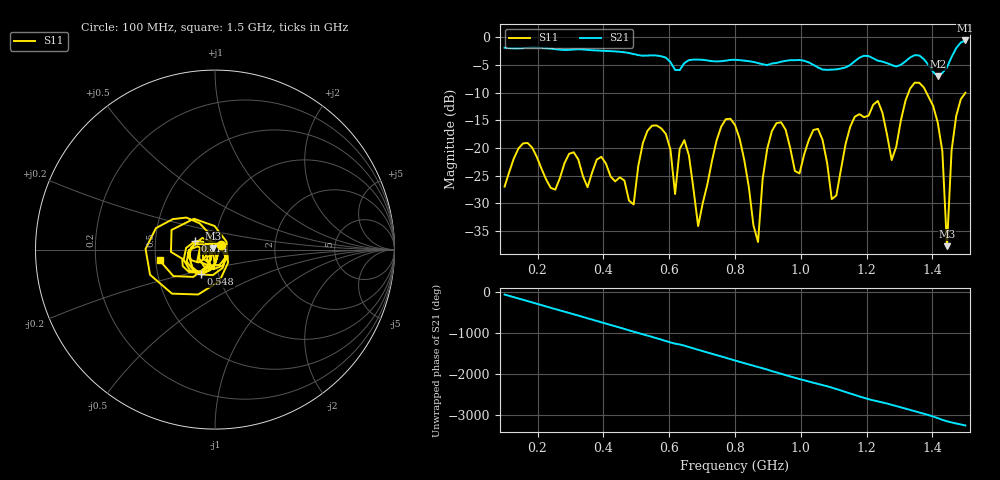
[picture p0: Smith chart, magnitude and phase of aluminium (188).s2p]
! NanoVNA-App
! Date: 2025-09-25 14:56:44
! Start: 100MHz Stop: 1,5GHz Points: 101
! S-Parameter data: F S11 S21 S12 S22
# Hz S RI R 50
!  Frequency  S11_Real  S11_Imag  S21_Real  S21_Imag  S12_Real  S12_Imag  S22_Real  S22_Imag
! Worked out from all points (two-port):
!   101 points, 100 MHz to 1.5 GHz, reference 50 ohm
!   highest |S21| = -0.61 dB at 1.5 GHz (marker M1); lowest = -7.1 dB at 1.416 GHz (marker M2)
!   |S21| within 3 dB of the highest: start of sweep to 584.5 MHz; 1.458 GHz to end of sweep (the widest 2 of 4)
!   lowest |S11| = -37.7 dB at 1.444 GHz (marker M3), VSWR 1.03, Z = 48.9 + j0.645 ohm
!   |S11| at or under -10 dB: start of sweep to 1.327 GHz; 1.382 GHz to end of sweep
!   S12 and S22 are empty: the file has one direction only
!   S11 on the Smith chart (normalised r, x): 100 MHz: 1.07, +0.06; 548 MHz: 0.82, -0.23; 814 MHz: 0.79, +0.07; 1.5 GHz: 0.52, -0.07
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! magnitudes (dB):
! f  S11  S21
! 100 MHz  -27.0  -1.9
! 338 MHz  -25.1  -2.2
! 492 MHz  -30.2  -3.1
! 548 MHz  -16.0  -3.3
! 576 MHz  -16.5  -3.5
! 618 MHz  -28.3  -5.9
! 646 MHz  -18.6  -4.7
! 688 MHz  -34.1  -4.1
! 800 MHz  -15.9  -4.1
! 814 MHz  -18.3  -4.2
! 870 MHz  -37.0  -4.7
! 912 MHz  -17.0  -4.8
! 996 MHz  -24.6  -4.1
! 1.038 GHz  -16.8  -5.0
! 1.094 GHz  -29.2  -5.9
! 1.234 GHz  -11.5  -4.3
! 1.276 GHz  -22.2  -5.0
! 1.346 GHz  -8.2  -3.3
! 1.416 GHz  -15.4  -7.1
! 1.444 GHz  -37.7  -5.5
! 1.458 GHz  -20.5  -3.6
! 1.5 GHz  -10.0  -0.6
